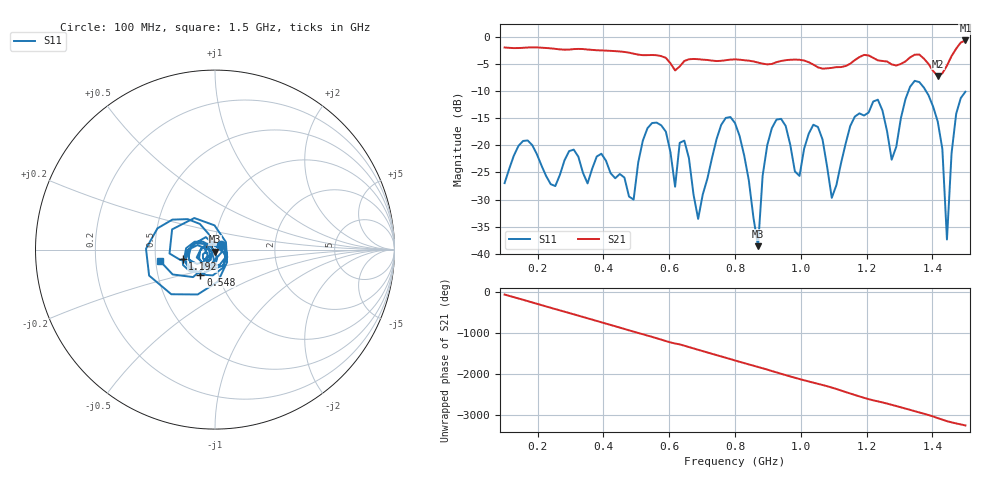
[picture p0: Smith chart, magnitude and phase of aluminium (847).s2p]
! NanoVNA-App
! Date: 2025-09-25 15:01:52
! Start: 100MHz Stop: 1,5GHz Points: 101
! S-Parameter data: F S11 S21 S12 S22
# Hz S RI R 50
!  Frequency  S11_Real  S11_Imag  S21_Real  S21_Imag  S12_Real  S12_Imag  S22_Real  S22_Imag
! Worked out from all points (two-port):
!   101 points, 100 MHz to 1.5 GHz, reference 50 ohm
!   highest |S21| = -0.62 dB at 1.5 GHz (marker M1); lowest = -7.2 dB at 1.416 GHz (marker M2)
!   |S21| within 3 dB of the highest: start of sweep to 580.5 MHz; 1.457 GHz to end of sweep (the widest 2 of 4)
!   lowest |S11| = -38.6 dB at 870 MHz (marker M3), VSWR 1.02, Z = 50.1 - j1.17 ohm
!   |S11| at or under -10 dB: start of sweep to 1.327 GHz; 1.381 GHz to end of sweep
!   S12 and S22 are empty: the file has one direction only
!   S11 on the Smith chart (normalised r, x): 100 MHz: 1.07, +0.06; 548 MHz: 0.82, -0.23; 1.192 GHz: 0.69, -0.08; 1.5 GHz: 0.53, -0.07
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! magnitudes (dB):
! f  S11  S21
! 100 MHz  -27.0  -1.9
! 156 MHz  -19.2  -2.0
! 338 MHz  -25.0  -2.2
! 492 MHz  -30.0  -3.1
! 548 MHz  -15.9  -3.3
! 576 MHz  -16.3  -3.5
! 618 MHz  -27.6  -6.2
! 646 MHz  -19.1  -4.4
! 688 MHz  -33.6  -4.1
! 800 MHz  -15.9  -4.1
! 870 MHz  -38.6  -4.7
! 912 MHz  -16.8  -5.0
! 996 MHz  -25.6  -4.2
! 1.038 GHz  -16.2  -5.1
! 1.094 GHz  -29.7  -5.7
! 1.192 GHz  -14.5  -3.3
! 1.276 GHz  -22.6  -5.0
! 1.346 GHz  -8.1  -3.3
! 1.416 GHz  -15.6  -7.2
! 1.444 GHz  -37.4  -5.3
! 1.472 GHz  -14.2  -2.1
! 1.5 GHz  -10.1  -0.6
